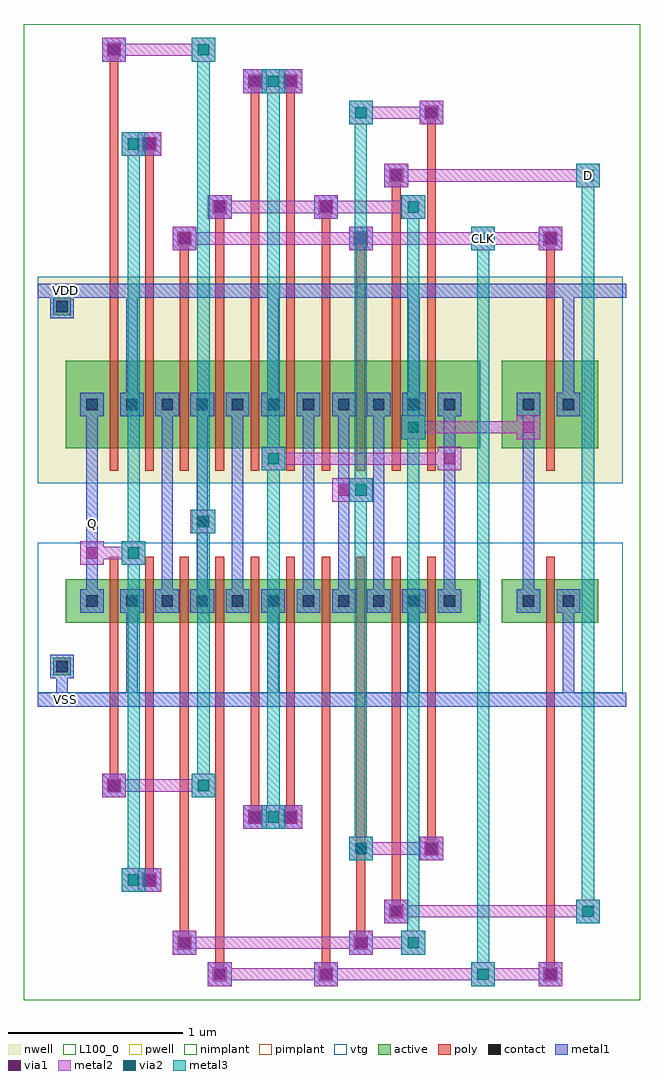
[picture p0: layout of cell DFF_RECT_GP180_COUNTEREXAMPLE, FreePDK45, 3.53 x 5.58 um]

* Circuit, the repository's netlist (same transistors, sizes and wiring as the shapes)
* cell DFF_RECT_GP180_COUNTEREXAMPLE
* pin CLK
* pin Q
* pin D
* pin VDD
* pin VSS
.SUBCKT DFF_RECT_GP180_COUNTEREXAMPLE 1 3 4 12 13
* net 1 CLK
* net 3 Q
* net 4 D
* net 12 VDD
* net 13 VSS
* device instance $1 r0 *1 0.4375,1.73 PMOS_VTG
M$1 12 7 3 12 PMOS_VTG L=0.05U W=0.5U AS=0.12625P AD=0.038125P PS=1.505U
+ PD=0.6525U
* device instance $2 r0 *1 0.64,1.73 PMOS_VTG
M$2 8 3 12 12 PMOS_VTG L=0.05U W=0.5U AS=0.038125P AD=0.0375P PS=0.6525U
+ PD=0.65U
* device instance $3 r0 *1 0.84,1.73 PMOS_VTG
M$3 7 1 8 12 PMOS_VTG L=0.05U W=0.5U AS=0.0375P AD=0.038125P PS=0.65U PD=0.6525U
* device instance $4 r0 *1 1.0425,1.73 PMOS_VTG
M$4 9 2 7 12 PMOS_VTG L=0.05U W=0.5U AS=0.038125P AD=0.038125P PS=0.6525U
+ PD=0.6525U
* device instance $5 r0 *1 1.245,1.73 PMOS_VTG
M$5 12 5 9 12 PMOS_VTG L=0.05U W=0.5U AS=0.038125P AD=0.038125P PS=0.6525U
+ PD=0.6525U
* device instance $6 r0 *1 1.4475,1.73 PMOS_VTG
M$6 10 5 12 12 PMOS_VTG L=0.05U W=0.5U AS=0.038125P AD=0.038125P PS=0.6525U
+ PD=0.6525U
* device instance $7 r0 *1 1.65,1.73 PMOS_VTG
M$7 6 2 10 12 PMOS_VTG L=0.05U W=0.5U AS=0.038125P AD=0.0375P PS=0.6525U
+ PD=0.65U
* device instance $8 r0 *1 1.85,1.73 PMOS_VTG
M$8 11 1 6 12 PMOS_VTG L=0.05U W=0.5U AS=0.0375P AD=0.038125P PS=0.65U
+ PD=0.6525U
* device instance $9 r0 *1 2.0525,1.73 PMOS_VTG
M$9 12 4 11 12 PMOS_VTG L=0.05U W=0.5U AS=0.038125P AD=0.038125P PS=0.6525U
+ PD=0.6525U
* device instance $10 r0 *1 2.255,1.73 PMOS_VTG
M$10 5 6 12 12 PMOS_VTG L=0.05U W=0.5U AS=0.038125P AD=0.12625P PS=0.6525U
+ PD=1.505U
* device instance $11 r0 *1 2.935,1.73 PMOS_VTG
M$11 12 1 2 12 PMOS_VTG L=0.05U W=0.5U AS=0.12625P AD=0.125P PS=1.505U PD=1.5U
* device instance $12 r0 *1 2.935,0.605 NMOS_VTG
M$12 13 1 2 13 NMOS_VTG L=0.05U W=0.25U AS=0.063125P AD=0.0625P PS=1.005U PD=1U
* device instance $13 r0 *1 0.4375,0.605 NMOS_VTG
M$13 13 7 3 13 NMOS_VTG L=0.05U W=0.25U AS=0.063125P AD=0.0190625P PS=1.005U
+ PD=0.4025U
* device instance $14 r0 *1 0.64,0.605 NMOS_VTG
M$14 8 3 13 13 NMOS_VTG L=0.05U W=0.25U AS=0.0190625P AD=0.01875P PS=0.4025U
+ PD=0.4U
* device instance $15 r0 *1 0.84,0.605 NMOS_VTG
M$15 7 2 8 13 NMOS_VTG L=0.05U W=0.25U AS=0.01875P AD=0.0190625P PS=0.4U
+ PD=0.4025U
* device instance $16 r0 *1 1.0425,0.605 NMOS_VTG
M$16 9 1 7 13 NMOS_VTG L=0.05U W=0.25U AS=0.0190625P AD=0.0190625P PS=0.4025U
+ PD=0.4025U
* device instance $17 r0 *1 1.245,0.605 NMOS_VTG
M$17 13 5 9 13 NMOS_VTG L=0.05U W=0.25U AS=0.0190625P AD=0.0190625P PS=0.4025U
+ PD=0.4025U
* device instance $18 r0 *1 1.4475,0.605 NMOS_VTG
M$18 10 5 13 13 NMOS_VTG L=0.05U W=0.25U AS=0.0190625P AD=0.0190625P PS=0.4025U
+ PD=0.4025U
* device instance $19 r0 *1 1.65,0.605 NMOS_VTG
M$19 6 1 10 13 NMOS_VTG L=0.05U W=0.25U AS=0.0190625P AD=0.01875P PS=0.4025U
+ PD=0.4U
* device instance $20 r0 *1 1.85,0.605 NMOS_VTG
M$20 11 2 6 13 NMOS_VTG L=0.05U W=0.25U AS=0.01875P AD=0.0190625P PS=0.4U
+ PD=0.4025U
* device instance $21 r0 *1 2.0525,0.605 NMOS_VTG
M$21 13 4 11 13 NMOS_VTG L=0.05U W=0.25U AS=0.0190625P AD=0.0190625P PS=0.4025U
+ PD=0.4025U
* device instance $22 r0 *1 2.255,0.605 NMOS_VTG
M$22 5 6 13 13 NMOS_VTG L=0.05U W=0.25U AS=0.0190625P AD=0.063125P PS=0.4025U
+ PD=1.005U
.ENDS DFF_RECT_GP180_COUNTEREXAMPLE

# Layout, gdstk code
import gdstk
lib = gdstk.Library(unit=1e-6, precision=2.5e-09)
def R(c, l, rs):  # rectangles x0, y0, x1, y1
    for r in rs: c.add(gdstk.rectangle(r[:2], r[2:], *l))
def A(c, l, x, y, w, h, nx, ny, dx, dy):  # array of equal rectangles
    R(c, l, [(x+i*dx, y+j*dy, x+i*dx+w, y+j*dy+h) for i in range(nx) for j in range(ny)])
active = (1, 0)
pwell = (2, 0)
nwell = (3, 0)
nimplant = (4, 0)
pimplant = (5, 0)
vtg = (6, 0)
poly = (9, 0)
contact = (10, 0)
metal1 = (11, 0)
via1 = (12, 0)
metal2 = (13, 0)
via2 = (14, 0)
metal3 = (15, 0)
L100_0 = (100, 0)

dff_rect_gp180_counterex = lib.new_cell('DFF_RECT_GP180_COUNTEREXAMPLE')
R(dff_rect_gp180_counterex, active, [(0.09,0.18,0.19,0.28), (0.16,0.48,2.5325,0.73), (2.6575,0.48,3.21,0.73), (0.16,1.48,2.5325,1.98), (2.6575,1.48,3.21,1.98), (0.09,2.24,0.19,2.34)])
R(dff_rect_gp180_counterex, pwell, [(0,0.08,3.35,0.94), (0.02,0.24,3.35,0.94)])
R(dff_rect_gp180_counterex, nwell, [(0,1.28,3.35,2.46), (0.02,1.28,3.35,2.2)])
R(dff_rect_gp180_counterex, nimplant, [(0.16,0.48,2.5325,0.73), (2.6575,0.48,3.21,0.73), (0.09,2.24,0.19,2.34)])
R(dff_rect_gp180_counterex, pimplant, [(0.09,0.18,0.19,0.28), (0.16,1.48,2.5325,1.98), (2.6575,1.48,3.21,1.98)])
R(dff_rect_gp180_counterex, vtg, [(0,0.08,3.35,0.94), (0.02,0.24,3.35,0.94), (0,1.28,3.35,2.46), (0.02,1.28,3.35,2.2)])
A(dff_rect_gp180_counterex, poly, 0.815, 0.35, 0.05, 0.51, 5, 1, 0.2025, 0)
A(dff_rect_gp180_counterex, poly, 1.825, 0.35, 0.05, 0.51, 3, 1, 0.2025, 0)
A(dff_rect_gp180_counterex, poly, 0.815, 1.35, 0.05, 0.76, 5, 1, 0.2025, 0)
A(dff_rect_gp180_counterex, poly, 1.825, 1.35, 0.05, 0.76, 3, 1, 0.2025, 0)
R(dff_rect_gp180_counterex, poly, [(1.0025,-1.57,1.0825,-1.49), (1.0175,-1.57,1.0675,0.35), (1.61,-1.57,1.69,-1.49), (1.625,-1.57,1.675,0.35), (2.895,-1.57,2.975,-1.49), (2.91,-1.57,2.96,0.35), (0.8,-1.39,0.88,-1.31), (0.815,-1.39,0.865,0.35), (1.81,-1.39,1.89,-1.31), (1.825,-1.39,1.875,0.35), (2.0125,-1.21,2.0925,-1.13), (2.0275,-1.21,2.0775,0.35), (0.6,-1.03,0.68,-0.95), (0.615,-1.03,0.665,0.35), (2.215,-0.85,2.295,-0.77), (2.23,-0.85,2.28,0.35), (1.205,-0.67,1.285,-0.59), (1.22,-0.67,1.27,0.35), (1.4075,-0.67,1.4875,-0.59), (1.4225,-0.67,1.4725,0.35), (0.3975,-0.49,0.4775,-0.41), (0.4125,-0.49,0.4625,0.35), (0.4125,0.35,0.4625,0.86), (0.615,0.35,0.665,0.86), (2.91,0.35,2.96,0.86), (0.4125,1.35,0.4625,2.11), (0.615,1.35,0.665,2.11), (2.91,1.35,2.96,2.11), (0.4125,2.11,0.4625,3.8), (0.615,2.11,0.665,3.26), (0.815,2.11,0.865,2.72), (1.0175,2.11,1.0675,2.9), (1.22,2.11,1.27,3.62), (1.4225,2.11,1.4725,3.62), (1.625,2.11,1.675,2.9), (1.825,2.11,1.875,2.72), (2.0275,2.11,2.0775,3.08), (2.23,2.11,2.28,3.44), (2.91,2.11,2.96,2.72), (0.8,2.64,0.88,2.72), (1.81,2.64,1.89,2.72), (2.895,2.64,2.975,2.72), (1.0025,2.82,1.0825,2.9), (1.61,2.82,1.69,2.9), (2.0125,3,2.0925,3.08), (0.6,3.18,0.68,3.26), (2.215,3.36,2.295,3.44), (1.205,3.54,1.285,3.62), (1.4075,3.54,1.4875,3.62), (0.3975,3.72,0.4775,3.8)])
A(dff_rect_gp180_counterex, contact, 0.91, 0.5725, 0.065, 0.065, 5, 2, 0.2025, 1.125)
A(dff_rect_gp180_counterex, contact, 1.92, 0.5725, 0.065, 0.065, 3, 2, 0.2025, 1.125)
R(dff_rect_gp180_counterex, contact, [(1.01,-1.5625,1.075,-1.4975), (1.6175,-1.5625,1.6825,-1.4975), (2.9025,-1.5625,2.9675,-1.4975), (0.8075,-1.3825,0.8725,-1.3175), (1.8175,-1.3825,1.8825,-1.3175), (2.02,-1.2025,2.085,-1.1375), (0.6075,-1.0225,0.6725,-0.9575), (2.2225,-0.8425,2.2875,-0.7775), (1.2125,-0.6625,1.2775,-0.5975), (1.415,-0.6625,1.48,-0.5975), (0.405,-0.4825,0.47,-0.4175), (0.1075,0.1975,0.1725,0.2625), (0.28,0.5725,0.345,0.6375), (0.5075,0.5725,0.5725,0.6375), (0.71,0.5725,0.775,0.6375), (2.7775,0.5725,2.8425,0.6375), (3.005,0.5725,3.07,0.6375), (0.28,1.6975,0.345,1.7625), (0.5075,1.6975,0.5725,1.7625), (0.71,1.6975,0.775,1.7625), (2.7775,1.6975,2.8425,1.7625), (3.005,1.6975,3.07,1.7625), (0.1075,2.2575,0.1725,2.3225), (0.8075,2.6475,0.8725,2.7125), (1.8175,2.6475,1.8825,2.7125), (2.9025,2.6475,2.9675,2.7125), (1.01,2.8275,1.075,2.8925), (1.6175,2.8275,1.6825,2.8925), (2.02,3.0075,2.085,3.0725), (0.6075,3.1875,0.6725,3.2525), (2.2225,3.3675,2.2875,3.4325), (1.2125,3.5475,1.2775,3.6125), (1.415,3.5475,1.48,3.6125), (0.405,3.7275,0.47,3.7925)])
A(dff_rect_gp180_counterex, metal1, 0.5075, 0.04, 0.065, 0.565, 3, 1, 0.8075, 0)
A(dff_rect_gp180_counterex, metal1, 0.875, 0.5375, 0.135, 0.135, 5, 2, 0.2025, 1.125)
A(dff_rect_gp180_counterex, metal1, 1.885, 0.5375, 0.135, 0.135, 3, 2, 0.2025, 1.125)
A(dff_rect_gp180_counterex, metal1, 0.5075, 1.73, 0.065, 0.65, 3, 1, 0.8075, 0)
R(dff_rect_gp180_counterex, metal1, [(0.975,-1.5975,1.11,-1.4625), (1.5825,-1.5975,1.7175,-1.4625), (2.8675,-1.5975,3.0025,-1.4625), (0.7725,-1.4175,0.9075,-1.2825), (1.7825,-1.4175,1.9175,-1.2825), (1.985,-1.2375,2.12,-1.1025), (0.5725,-1.0575,0.7075,-0.9225), (2.1875,-0.8775,2.3225,-0.7425), (1.1775,-0.6975,1.3125,-0.5625), (1.38,-0.6975,1.515,-0.5625), (0.37,-0.5175,0.505,-0.3825), (0,0,3.37,0.08), (0.1075,0.04,0.1725,0.23), (3.005,0.04,3.07,0.605), (0.0725,0.1625,0.2075,0.2975), (0.245,0.5375,0.38,0.6725), (0.4725,0.5375,0.6075,0.6725), (0.675,0.5375,0.81,0.6725), (2.7425,0.5375,2.8775,0.6725), (2.97,0.5375,3.105,0.6725), (0.28,0.605,0.345,1.73), (0.71,0.605,0.775,1.73), (0.91,0.605,0.975,1.73), (1.1125,0.605,1.1775,1.73), (1.5175,0.605,1.5825,1.73), (1.72,0.605,1.785,1.73), (1.92,0.605,1.985,1.73), (2.325,0.605,2.39,1.73), (2.7775,0.605,2.8425,1.73), (0.245,1.6625,0.38,1.7975), (0.4725,1.6625,0.6075,1.7975), (0.675,1.6625,0.81,1.7975), (2.7425,1.6625,2.8775,1.7975), (2.97,1.6625,3.105,1.7975), (3.005,1.73,3.07,2.38), (0.0725,2.2225,0.2075,2.3575), (0.1075,2.29,0.1725,2.38), (0,2.34,3.37,2.42), (0.7725,2.6125,0.9075,2.7475), (1.7825,2.6125,1.9175,2.7475), (2.8675,2.6125,3.0025,2.7475), (0.975,2.7925,1.11,2.9275), (1.5825,2.7925,1.7175,2.9275), (1.985,2.9725,2.12,3.1075), (0.5725,3.1525,0.7075,3.2875), (2.1875,3.3325,2.3225,3.4675), (1.1775,3.5125,1.3125,3.6475), (1.38,3.5125,1.515,3.6475), (0.37,3.6925,0.505,3.8275)])
R(dff_rect_gp180_counterex, via1, [(1.01,-1.5625,1.075,-1.4975), (1.6175,-1.5625,1.6825,-1.4975), (2.9025,-1.5625,2.9675,-1.4975), (0.8075,-1.3825,0.8725,-1.3175), (1.8175,-1.3825,1.8825,-1.3175), (2.02,-1.2025,2.085,-1.1375), (0.6075,-1.0225,0.6725,-0.9575), (2.2225,-0.8425,2.2875,-0.7775), (1.2125,-0.6625,1.2775,-0.5975), (1.415,-0.6625,1.48,-0.5975), (0.405,-0.4825,0.47,-0.4175), (0.28,0.8475,0.345,0.9125), (0.91,1.0275,0.975,1.0925), (1.72,1.2075,1.785,1.2725), (2.325,1.3875,2.39,1.4525), (2.7775,1.5675,2.8425,1.6325), (0.8075,2.6475,0.8725,2.7125), (1.8175,2.6475,1.8825,2.7125), (2.9025,2.6475,2.9675,2.7125), (1.01,2.8275,1.075,2.8925), (1.6175,2.8275,1.6825,2.8925), (2.02,3.0075,2.085,3.0725), (0.6075,3.1875,0.6725,3.2525), (2.2225,3.3675,2.2875,3.4325), (1.2125,3.5475,1.2775,3.6125), (1.415,3.5475,1.48,3.6125), (0.405,3.7275,0.47,3.7925)])
R(dff_rect_gp180_counterex, metal2, [(0.975,-1.5975,1.11,-1.4625), (1.5825,-1.5975,1.7175,-1.4625), (2.4825,-1.5975,2.6175,-1.4625), (2.4825,-1.5975,2.6175,-1.4625), (2.4825,-1.5975,2.6175,-1.4625), (2.8675,-1.5975,3.0025,-1.4625), (1.0075,-1.565,2.585,-1.495), (1.615,-1.565,2.585,-1.495), (2.515,-1.565,2.97,-1.495), (0.7725,-1.4175,0.9075,-1.2825), (1.7825,-1.4175,1.9175,-1.2825), (2.0825,-1.4175,2.2175,-1.2825), (2.0825,-1.4175,2.2175,-1.2825), (0.805,-1.385,2.185,-1.315), (1.815,-1.385,2.185,-1.315), (1.985,-1.2375,2.12,-1.1025), (3.0825,-1.2375,3.2175,-1.1025), (2.0175,-1.205,3.185,-1.135), (0.4825,-1.0575,0.6175,-0.9225), (0.5725,-1.0575,0.7075,-0.9225), (0.515,-1.025,0.675,-0.955), (1.7825,-0.8775,1.9175,-0.7425), (2.1875,-0.8775,2.3225,-0.7425), (1.815,-0.845,2.29,-0.775), (1.1775,-0.6975,1.3125,-0.5625), (1.1775,-0.6975,1.4175,-0.5625), (1.2825,-0.6975,1.4175,-0.5625), (1.2825,-0.6975,1.4175,-0.5625), (1.38,-0.6975,1.515,-0.5625), (1.21,-0.665,1.385,-0.595), (1.315,-0.665,1.4825,-0.595), (0.37,-0.5175,0.505,-0.3825), (0.8825,-0.5175,1.0175,-0.3825), (0.4025,-0.485,0.985,-0.415), (0.245,0.8125,0.38,0.9475), (0.4825,0.8125,0.6175,0.9475), (0.2775,0.845,0.585,0.915), (0.875,0.9925,1.01,1.1275), (0.8825,0.9925,1.0175,1.1275), (0.9075,1.025,0.985,1.095), (1.685,1.1725,1.82,1.3075), (1.7825,1.1725,1.9175,1.3075), (1.7175,1.205,1.885,1.275), (1.2825,1.3525,1.4175,1.4875), (2.29,1.3525,2.425,1.4875), (1.315,1.385,2.3925,1.455), (2.0825,1.5325,2.2175,1.6675), (2.7425,1.5325,2.8775,1.6675), (2.115,1.565,2.845,1.635), (0.7725,2.6125,0.9075,2.7475), (1.7825,2.6125,1.9175,2.7475), (2.4825,2.6125,2.6175,2.7475), (2.4825,2.6125,2.6175,2.7475), (2.4825,2.6125,2.6175,2.7475), (2.8675,2.6125,3.0025,2.7475), (0.805,2.645,2.585,2.715), (1.815,2.645,2.585,2.715), (2.515,2.645,2.97,2.715), (0.975,2.7925,1.11,2.9275), (1.5825,2.7925,1.7175,2.9275), (2.0825,2.7925,2.2175,2.9275), (2.0825,2.7925,2.2175,2.9275), (1.0075,2.825,2.185,2.895), (1.615,2.825,2.185,2.895), (1.985,2.9725,2.12,3.1075), (3.0825,2.9725,3.2175,3.1075), (2.0175,3.005,3.185,3.075), (0.4825,3.1525,0.6175,3.2875), (0.5725,3.1525,0.7075,3.2875), (0.515,3.185,0.675,3.255), (1.7825,3.3325,1.9175,3.4675), (2.1875,3.3325,2.3225,3.4675), (1.815,3.365,2.29,3.435), (1.1775,3.5125,1.3125,3.6475), (1.1775,3.5125,1.4175,3.6475), (1.2825,3.5125,1.4175,3.6475), (1.2825,3.5125,1.4175,3.6475), (1.38,3.5125,1.515,3.6475), (1.21,3.545,1.385,3.615), (1.315,3.545,1.4825,3.615), (0.37,3.6925,0.505,3.8275), (0.8825,3.6925,1.0175,3.8275), (0.4025,3.725,0.985,3.795)])
R(dff_rect_gp180_counterex, via2, [(2.5175,-1.5625,2.5825,-1.4975), (2.1175,-1.3825,2.1825,-1.3175), (3.1175,-1.2025,3.1825,-1.1375), (0.5175,-1.0225,0.5825,-0.9575), (1.8175,-0.8425,1.8825,-0.7775), (1.3175,-0.6625,1.3825,-0.5975), (0.9175,-0.4825,0.9825,-0.4175), (0.5175,0.8475,0.5825,0.9125), (0.9175,1.0275,0.9825,1.0925), (1.8175,1.2075,1.8825,1.2725), (1.3175,1.3875,1.3825,1.4525), (2.1175,1.5675,2.1825,1.6325), (2.5175,2.6475,2.5825,2.7125), (2.1175,2.8275,2.1825,2.8925), (3.1175,3.0075,3.1825,3.0725), (0.5175,3.1875,0.5825,3.2525), (1.8175,3.3675,1.8825,3.4325), (1.3175,3.5475,1.3825,3.6125), (0.9175,3.7275,0.9825,3.7925)])
R(dff_rect_gp180_counterex, metal3, [(2.4825,-1.5975,2.6175,-1.4625), (2.515,-1.565,2.585,2.715), (2.0825,-1.4175,2.2175,-1.2825), (2.115,-1.385,2.185,2.895), (3.0825,-1.2375,3.2175,-1.1025), (3.115,-1.205,3.185,3.075), (0.4825,-1.0575,0.6175,-0.9225), (0.515,-1.025,0.585,3.255), (1.7825,-0.8775,1.9175,-0.7425), (1.815,-0.845,1.885,3.435), (1.2825,-0.6975,1.4175,-0.5625), (1.315,-0.665,1.385,3.615), (0.8825,-0.5175,1.0175,-0.3825), (0.915,-0.485,0.985,3.795), (0.4825,0.8125,0.6175,0.9475), (0.8825,0.9925,1.0175,1.1275), (1.7825,1.1725,1.9175,1.3075), (1.2825,1.3525,1.4175,1.4875), (2.0825,1.5325,2.2175,1.6675), (2.4825,2.6125,2.6175,2.7475), (2.0825,2.7925,2.2175,2.9275), (3.0825,2.9725,3.2175,3.1075), (0.4825,3.1525,0.6175,3.2875), (1.7825,3.3325,1.9175,3.4675), (1.2825,3.5125,1.4175,3.6475), (0.8825,3.6925,1.0175,3.8275)])
R(dff_rect_gp180_counterex, L100_0, [(-0.08,-1.6775,3.45,3.9075)])
dff_rect_gp180_counterex.add(gdstk.Label('VDD', (0.16,2.38), layer=11, texttype=0))
dff_rect_gp180_counterex.add(gdstk.Label('VSS', (0.16,0.04), layer=11, texttype=0))
dff_rect_gp180_counterex.add(gdstk.Label('Q', (0.3125,1.05), layer=11, texttype=0))
dff_rect_gp180_counterex.add(gdstk.Label('CLK', (2.55,2.68), layer=15, texttype=0))
dff_rect_gp180_counterex.add(gdstk.Label('D', (3.15,3.04), layer=15, texttype=0))

lib.write_gds('DFF_RECT_GP180_COUNTEREXAMPLE.gds')
